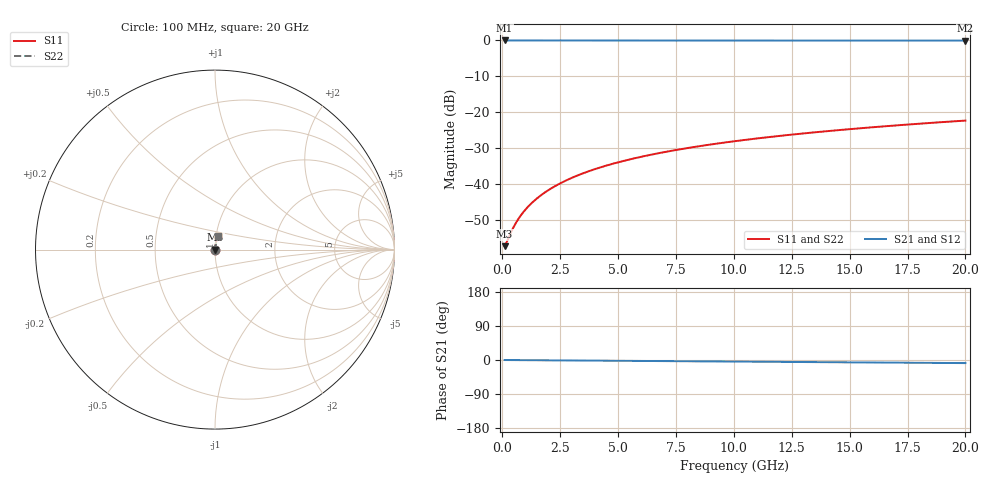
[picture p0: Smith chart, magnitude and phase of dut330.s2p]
! Touchstone file exported from HFSS 2026.1.0
!  File:  C:/ffzhzh/LocalFiles/Ansys_Project_Files/temp_train_TMRDL_330_1783003646_53980.aedt
!  Generated:  10:48:46 PM Jul  2, 2026
!  Design:  TMRDL
!  Project:  temp_train_TMRDL_330_1783003646_53980
! Variables:
!  h_bsmrdl = 2um
!  h_ox = 20um
!  h_rdl = 5um
!  h_sub = 80um
!  h_tmrdl = 3.28um
!  h_tsv = 80um
!  h_via = 3um
!  l_bsmrdl = 300um
!  l_sub = 510.3um
!  l_tmrdl = 110.3um
!  m_sub = 200um
!  pitch = 22.58um
!  r_tsv = 6um
!  s_tmrdl = 10um
!  w_bsmrdl = 18um
!  w_sub = 500um
!  w_tmrdl = 10.75um
!  x_tsv_center1 = 115.675um
!  x_tsv_center2 = 433.675um
!  x_tsv_center3 = 554.725um
!  x_tsv_center4 = 872.725um
!  x_tsv_center5 = 993.775um
!  x_tsv_center6 = 1311.775um
# GHz S MA R 50.000000
! Terminal data exported
! Port[1] = TM_RDL1_1_T1
! Port[2] = TM_RDL1_1_T2
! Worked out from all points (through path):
!   200 points, 100 MHz to 20 GHz, reference 50 ohm
!   highest |S21| = -0.01 dB at 100 MHz (marker M1); lowest = -0.1 dB at 20 GHz (marker M2)
!   group delay of S21, straight-line fit = 1.13 ps
!   lowest |S11| = -57.3 dB at 100 MHz (marker M3), VSWR 1.00, Z = 50.1 + j0.0443 ohm
!   |S11| at or under -10 dB: start of sweep to end of sweep
!   |S22| runs from -57.3 to -22.3 dB; largest |S21 - S12| = 2e-15
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0.1  0.001361 19.0  0.9987 -0.0  0.9987 -0.0  0.001361 19.0
! Gamma 0 0 0 0
! Port Impedance 50 0 50 0
0.2  0.001574 33.9  0.9987 -0.1  0.9987 -0.1  0.001574 33.9
0.4  0.0022 51.6  0.9986 -0.2  0.9986 -0.2  0.0022 51.6
0.5  0.002552 56.8  0.9986 -0.2  0.9986 -0.2  0.002552 56.8
0.7  0.003279 63.7  0.9986 -0.3  0.9986 -0.3  0.003279 63.7
0.8  0.00365 66.1  0.9985 -0.3  0.9985 -0.3  0.00365 66.1
1  0.004398 69.7  0.9985 -0.4  0.9985 -0.4  0.004398 69.7
1.3  0.005538 73.4  0.9985 -0.6  0.9985 -0.6  0.005538 73.4
1.7  0.00708 76.4  0.9984 -0.7  0.9984 -0.7  0.00708 76.4
2.2  0.009029 78.7  0.9983 -0.9  0.9983 -0.9  0.009029 78.7
2.8  0.01138 80.3  0.9983 -1.2  0.9983 -1.2  0.01138 80.3
3.5  0.01414 81.4  0.9981 -1.5  0.9981 -1.5  0.01414 81.4
4.2  0.01689 82.0  0.998 -1.8  0.998 -1.8  0.01689 82.0
5  0.02003 82.3  0.9978 -2.1  0.9978 -2.1  0.02003 82.3
5.9  0.02354 82.4  0.9976 -2.5  0.9976 -2.5  0.02354 82.4
6.8  0.02704 82.4  0.9974 -2.8  0.9974 -2.8  0.02704 82.4
8.3  0.03282 82.2  0.997 -3.5  0.997 -3.5  0.03282 82.2
10.1  0.03969 81.8  0.9964 -4.2  0.9964 -4.2  0.03969 81.8
11.7  0.04574 81.3  0.9959 -4.8  0.9959 -4.8  0.04574 81.3
13.4  0.0521 80.8  0.9953 -5.5  0.9953 -5.5  0.0521 80.8
16.7  0.06434 79.7  0.9941 -6.9  0.9941 -6.9  0.06434 79.7
20  0.07643 78.6  0.9928 -8.2  0.9928 -8.2  0.07643 78.6
